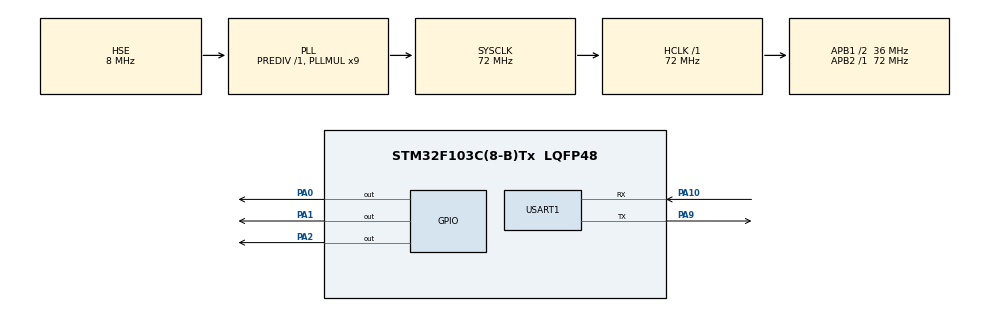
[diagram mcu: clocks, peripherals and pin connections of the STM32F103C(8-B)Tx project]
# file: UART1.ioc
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Mcu.Family=STM32F1
Mcu.Name=STM32F103C(8-B)Tx
Mcu.Package=LQFP48
NVIC.PriorityGroup=NVIC_PRIORITYGROUP_4
PA0-WKUP.GPIO_Speed=GPIO_SPEED_FREQ_HIGH
PA0-WKUP.Signal=GPIO_Output
PA1.GPIO_Speed=GPIO_SPEED_FREQ_HIGH
PA1.Signal=GPIO_Output
PA10.Mode=Asynchronous
PA10.Signal=USART1_RX
PA13.Mode=Serial_Wire
PA13.Signal=SYS_JTMS-SWDIO
PA14.Mode=Serial_Wire
PA14.Signal=SYS_JTCK-SWCLK
PA2.GPIO_Speed=GPIO_SPEED_FREQ_HIGH
PA2.Signal=GPIO_Output
PA9.Mode=Asynchronous
PA9.Signal=USART1_TX
PD0-OSC_IN.Mode=HSE-External-Oscillator
PD0-OSC_IN.Signal=RCC_OSC_IN
PD1-OSC_OUT.Mode=HSE-External-Oscillator
PD1-OSC_OUT.Signal=RCC_OSC_OUT
ProjectManager.HeapSize=0x200
ProjectManager.StackSize=0x400
ProjectManager.TargetToolchain=MDK-ARM V5.32
RCC.AHBFreq_Value=72000000
RCC.APB1CLKDivider=RCC_HCLK_DIV2
RCC.APB1Freq_Value=36000000
RCC.APB1TimFreq_Value=72000000
RCC.APB2Freq_Value=72000000
RCC.APB2TimFreq_Value=72000000
RCC.HCLKFreq_Value=72000000
RCC.PLLMUL=RCC_PLL_MUL9
RCC.PLLSourceVirtual=RCC_PLLSOURCE_HSE
RCC.SYSCLKFreq_VALUE=72000000
RCC.SYSCLKSource=RCC_SYSCLKSOURCE_PLLCLK
RCC.USBFreq_Value=72000000
USART1.VirtualMode=VM_ASYNC
board=custom

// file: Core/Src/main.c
/* USER CODE BEGIN Header */
/**
  ******************************************************************************
  * @file           : main.c
  * @brief          : Main program body
  ******************************************************************************
  * @attention
  *
  * Copyright (c) 2024 STMicroelectronics.
  * All rights reserved.
  *
  * This software is licensed under terms that can be found in the LICENSE file
  * in the root directory of this software component.
  * If no LICENSE file comes with this software, it is provided AS-IS.
  *
  ******************************************************************************
  */
/* USER CODE END Header */
#include "main.h"
#include "usart.h"
#include "gpio.h"

void SystemClock_Config(void);

int main(void)
{

  /* MCU Configuration--------------------------------------------------------*/

  /* Reset of all peripherals, Initializes the Flash interface and the Systick. */
  HAL_Init();

  /* Configure the system clock */
  SystemClock_Config();

  /* Initialize all configured peripherals */
  MX_GPIO_Init();
  MX_USART1_UART_Init();
  /* USER CODE BEGIN 2 */

HAL_GPIO_WritePin(GPIOA,GPIO_PIN_0,GPIO_PIN_SET);
		HAL_GPIO_WritePin(GPIOA,GPIO_PIN_2,GPIO_PIN_SET);

  /* USER CODE END 2 */

  /* Infinite loop */
  /* USER CODE BEGIN WHILE */
  while (1)
  {
		int sign=0;
		uint8_t datarecieve;

		HAL_UART_Receive(&huart1, &datarecieve, 1, 0xffff);

			if(datarecieve=='#') //串口停止发送
			{
			sign=0;
			}

			if(datarecieve=='*') //串口开始发送
			{
			sign=1;
			}

		if(sign==1)
		{
		char data[]="hello windows!\n";
		HAL_UART_Transmit(&huart1, (uint8_t *)data, 15, 0xffff);
		HAL_GPIO_WritePin(GPIOA,GPIO_PIN_1,GPIO_PIN_SET);//PA0做指示灯
	  HAL_Delay(1000); //有延时情况
	HAL_GPIO_WritePin(GPIOA,GPIO_PIN_1,GPIO_PIN_RESET);
		HAL_Delay(1000);

			HAL_GPIO_WritePin(GPIOA,GPIO_PIN_2,GPIO_PIN_RESET);

		}

		if(sign==0)
		{
		HAL_GPIO_WritePin(GPIOA,GPIO_PIN_0,GPIO_PIN_RESET);
		}

    /* USER CODE END WHILE */

  }
}

void SystemClock_Config(void)
{
  RCC_OscInitTypeDef RCC_OscInitStruct = {0};
  RCC_ClkInitTypeDef RCC_ClkInitStruct = {0};

  /** Initializes the RCC Oscillators according to the specified parameters
  * in the RCC_OscInitTypeDef structure.
  */
  RCC_OscInitStruct.OscillatorType = RCC_OSCILLATORTYPE_HSE;
  RCC_OscInitStruct.HSEState = RCC_HSE_ON;
  RCC_OscInitStruct.HSEPredivValue = RCC_HSE_PREDIV_DIV1;
  RCC_OscInitStruct.HSIState = RCC_HSI_ON;
  RCC_OscInitStruct.PLL.PLLState = RCC_PLL_ON;
  RCC_OscInitStruct.PLL.PLLSource = RCC_PLLSOURCE_HSE;
  RCC_OscInitStruct.PLL.PLLMUL = RCC_PLL_MUL9;
  if (HAL_RCC_OscConfig(&RCC_OscInitStruct) != HAL_OK)
  {
    Error_Handler();
  }

  /** Initializes the CPU, AHB and APB buses clocks
  */
  RCC_ClkInitStruct.ClockType = RCC_CLOCKTYPE_HCLK|RCC_CLOCKTYPE_SYSCLK
                              |RCC_CLOCKTYPE_PCLK1|RCC_CLOCKTYPE_PCLK2;
  RCC_ClkInitStruct.SYSCLKSource = RCC_SYSCLKSOURCE_PLLCLK;
  RCC_ClkInitStruct.AHBCLKDivider = RCC_SYSCLK_DIV1;
  RCC_ClkInitStruct.APB1CLKDivider = RCC_HCLK_DIV2;
  RCC_ClkInitStruct.APB2CLKDivider = RCC_HCLK_DIV1;

  if (HAL_RCC_ClockConfig(&RCC_ClkInitStruct, FLASH_LATENCY_2) != HAL_OK)
  {
    Error_Handler();
  }
}

void Error_Handler(void)
{
  __disable_irq();
  while (1)
  {
  }
}
